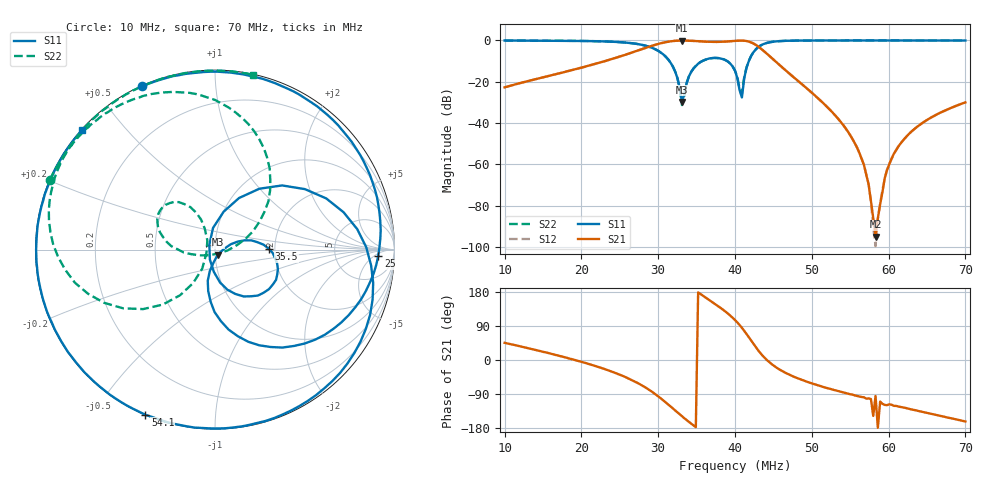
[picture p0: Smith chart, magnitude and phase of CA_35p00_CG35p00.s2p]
#  HZ  S  RI  R  50.00
! Rohde & Schwarz ZVT8 8Ports - Version 4.11 - 1300.0000k08 SN: 100242
! Date: 2026-07-31 14:44:01
! Measurements: S11 S21 S12 S22
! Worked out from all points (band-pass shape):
!   201 points, 10 MHz to 70 MHz, reference 50 ohm
!   highest |S21| = -0.05 dB at 33.1 MHz (marker M1); lowest = -95.1 dB at 58.3 MHz (marker M2)
!   |S21| within 3 dB of the highest: 28.81 MHz to 43.06 MHz (14.25 MHz wide, 39.6 % of centre)
!   lowest |S11| = -29.8 dB at 33.1 MHz (marker M3), VSWR 1.07, Z = 51.5 - j2.9 ohm
!   |S11| at or under -10 dB: 31.46 MHz to 35.73 MHz (4.271 MHz wide, 12.7 % of centre); 38.97 MHz to 41.8 MHz (2.83 MHz wide, 7.01 % of centre)
!   |S22| runs from -31.3 to 0.0 dB; largest |S21 - S12| = 0.0031
!   S11 on the Smith chart (normalised r, x): 10 MHz: 0.00, +0.65; 25 MHz: 18, -8; 35.5 MHz: 1.86, +0.02; 54.1 MHz: 0.00, -0.66; 70 MHz: 0.00, +0.38
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1e7  -0.4056 0.91  0.0514 0.0521  0.0513 0.0522  -0.919 0.3862
2.02e7  0.7362 0.6324  0.223 -0.0233  0.2224 -0.0232  -0.5963 0.7659
2.5e7  0.9095 -0.0366  0.3164 -0.255  0.3162 -0.2556  -0.2377 0.8783
3.01e7  0.1859 -0.5139  -0.107 -0.8253  -0.1061 -0.8255  0.3046 0.4519
3.22e7  -0.0404 -0.1732  -0.6669 -0.7168  -0.6657 -0.7153  0.1684 0.0585
3.31e7  0.016 -0.0281  -0.8477 -0.5199  -0.8465 -0.5185  0.0167 -0.0214
3.4e7  0.1269 0.0448  -0.9439 -0.2826  -0.9435 -0.2827  -0.1312 -0.0256
3.55e7  0.2997 0.00496  -0.9441 0.0974  -0.9435 0.0974  -0.2898 0.0704
4e7  0.0281 -0.1833  -0.2609 0.9401  -0.2598 0.9396  -0.0776 0.1676
4.09e7  -0.0315 0.0272  0.0868 0.9868  0.0875 0.986  -0.0479 -0.0205
4.15e7  0.0486 0.2118  0.3512 0.8997  0.349 0.8993  -0.1218 -0.1867
4.27e7  0.5012 0.3369  0.6489 0.4398  0.6486 0.4382  -0.5127 -0.3269
4.51e7  0.8643 -0.3635  0.3183 -0.0898  0.3183 -0.0895  -0.9248 0.1596
5.02e7  0.1477 -0.9852  0.0229 -0.0448  0.0229 -0.0445  -0.7009 0.7073
5.41e7  -0.3877 -0.9205  0.000704 -0.00887  0.000674 -0.00884  -0.501 0.8615
5.65e7  -0.6453 -0.7605  -0.00018 -0.00133  -0.000175 -0.00135  -0.3855 0.919
5.77e7  -0.7506 -0.6564  -2.94e-05 -0.000127  -4.76e-05 -0.000111  -0.3303 0.9395
5.83e7  -0.7968 -0.5989  -1.54e-06 -1.76e-05  9.02e-06 -5.17e-06  -0.3023 0.9501
5.89e7  -0.8387 -0.5396  -3.64e-05 -0.000101  -6.67e-05 -9.02e-05  -0.275 0.958
6.01e7  -0.9061 -0.4133  -0.000461 -0.000909  -0.00048 -0.000906  -0.22 0.9722
6.37e7  -0.9967 -0.00119  -0.00555 -0.00584  -0.00559 -0.00581  -0.0601 0.9949
7e7  -0.7398 0.6669  -0.0301 -0.00961  -0.03 -0.00958  0.21 0.9747
